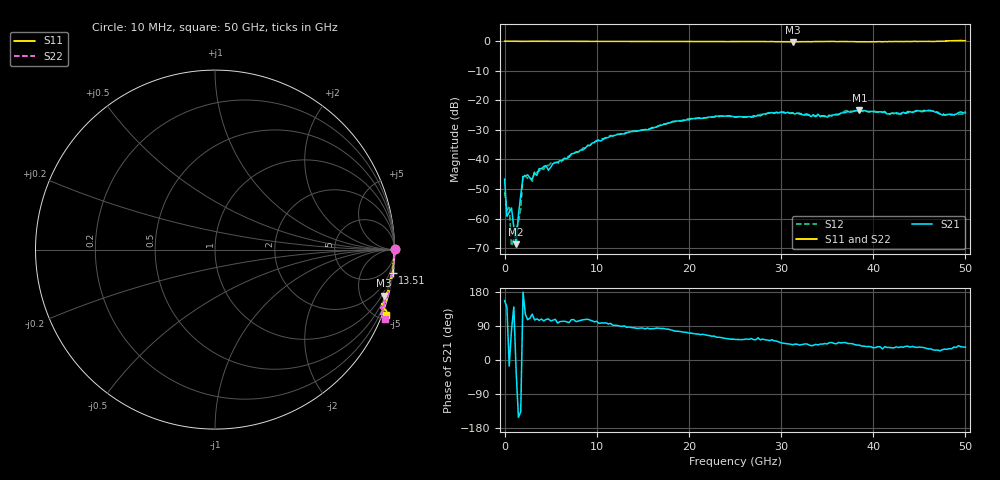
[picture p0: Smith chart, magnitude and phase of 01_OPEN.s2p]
!  2-Port S-parameters saved by WinCal
! VAR MeasName=S-Parameters (CALIBRATED_DATA) read from VNA (N5245A)
! VAR MeasDate=4/1/2014 5:33:03 PM
! VAR NAME=01_OPEN
! VAR FILENAME=01_OPEN.s2p
! VAR DATE=4/1/2014 5:33:03 PM
! VAR PHYS_PORTS=1,2
! VAR ObjTypeName=DATASET
! VAR IndexType=Frequency
# Hz S RI R 50
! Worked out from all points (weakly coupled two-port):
!   201 points, 10 MHz to 50 GHz, reference 50 ohm
!   highest |S21| = -23.37 dB at 38.5 GHz (marker M1); lowest = -68.7 dB at 1.26 GHz (marker M2)
!   lowest |S11| = -0.2 dB at 31.25 GHz (marker M3), VSWR 84.95, Z = 33.3 - j371 ohm
!   |S11| at or under -10 dB: nowhere
!   |S22| runs from -0.2 to 0.2 dB; largest |S21 - S12| = 0.0072
!   S11 on the Smith chart (normalised r, x): 10 MHz: open; 13.51 GHz: 0, -16; 50 GHz: -0.32, -5.42
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1e7  1.003 0.00117  -0.00427 0.00184  0.00102 -0.0026  1.001 0.00255
2.5995e8  1.003 -0.00437  -0.000828 0.000716  -0.000392 -0.00134  1.002 -0.00541
5.099e8  0.999 -0.00753  0.00124 -0.000356  0.00157 0.000528  0.9985 -0.00443
7.5985e8  0.9996 -0.00885  0.000275 0.00149  6.3e-05 0.000336  1.001 -0.00873
1.25975e9  1.001 -0.0145  0.000319 -0.000179  0.000599 0.000213  0.9997 -0.0124
1.5097e9  0.9969 -0.017  -0.00101 -0.000553  -0.000856 0.000275  1 -0.0149
1.75965e9  0.996 -0.021  -0.00181 -0.00171  -0.00124 -0.000701  0.9998 -0.0191
2.0096e9  0.9949 -0.0202  -0.00508 9.54e-05  -0.00557 0.000122  0.9953 -0.0192
3.0094e9  0.9986 -0.0281  -0.0024 0.00402  -0.00197 0.00376  0.9999 -0.0293
3.25935e9  0.9984 -0.0309  -0.00158 0.0057  -0.00274 0.00579  1.001 -0.0281
4.75905e9  0.9983 -0.0459  -0.00205 0.00624  -0.00191 0.00764  1 -0.0477
6.0088e9  0.9981 -0.0579  -0.00185 0.00936  -0.00137 0.00843  0.9996 -0.0558
8.5083e9  0.9938 -0.0799  -0.00402 0.0139  -0.00396 0.0152  0.9975 -0.0836
1.0008e10  0.9932 -0.092  -0.0044 0.0206  -0.00348 0.0203  0.9962 -0.0952
1.35073e10  0.9901 -0.1281  0.00135 0.029  0.00211 0.0289  0.9874 -0.1328
1.675665e10  0.9847 -0.1512  0.004 0.0372  0.00472 0.0369  0.9815 -0.1564
2.5005e10  0.9623 -0.2155  0.0306 0.0426  0.0305 0.0425  0.9615 -0.2211
3.125375e10  0.9424 -0.2565  0.0461 0.0393  0.0468 0.0404  0.9479 -0.2707
3.35033e10  0.9487 -0.2716  0.0448 0.0358  0.0436 0.0342  0.9473 -0.2795
3.85023e10  0.9341 -0.3017  0.0526 0.0429  0.055 0.0391  0.9283 -0.3178
4.175165e10  0.9403 -0.3097  0.0497 0.0324  0.0506 0.0292  0.9313 -0.3223
5e10  0.9544 -0.3635  0.0506 0.0342  0.0541 0.0365  0.9482 -0.3863
